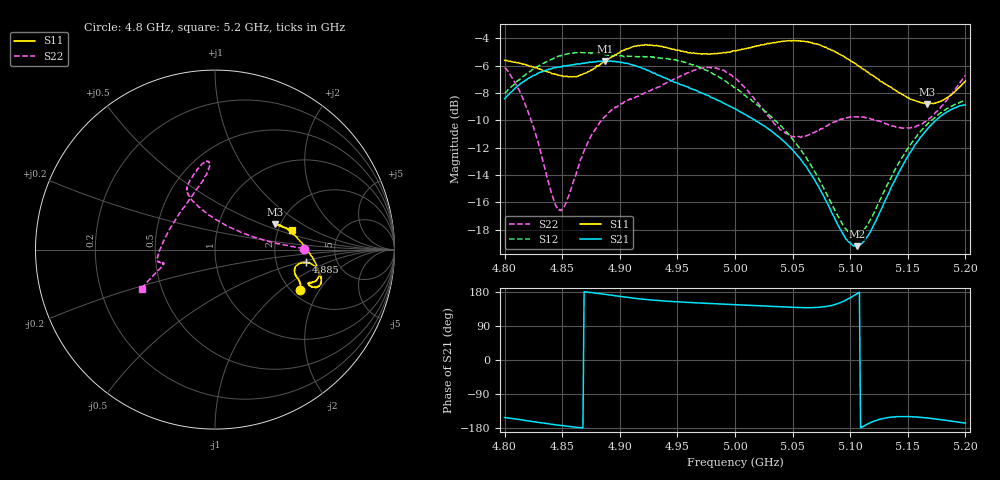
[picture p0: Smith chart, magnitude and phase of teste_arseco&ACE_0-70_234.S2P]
! Network Analyzer HP8722D
! Hewlett-Packard
! Data name: Linha & Wilkinson
! Saver's name: Rodrigo Anjos
! Comments: Teste da utilização de aquisição
! continua pelo VNA HP8722D
! Time and date: 8/5/2025 14:42
!  Frequency  S11  S21  S12  S22
# HZ  S  MA R 50
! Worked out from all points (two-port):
!   401 points, 4.8 GHz to 5.2 GHz, reference 50 ohm
!   highest |S21| = -5.65 dB at 4.887 GHz (marker M1); lowest = -19.2 dB at 5.106 GHz (marker M2)
!   |S21| within 3 dB of the highest: start of sweep to 4.988 GHz
!   lowest |S11| = -8.8 dB at 5.167 GHz (marker M3), VSWR 2.14, Z = 93.6 + j30.8 ohm
!   |S11| at or under -10 dB: nowhere
!   |S22| runs from -16.6 to -6.1 dB; largest |S21 - S12| = 1.1
!   S11 on the Smith chart (normalised r, x): 4.8 GHz: 2.23, -1.37; 4.885 GHz: 2.99, -0.57; 5.2 GHz: 2.36, +0.65
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4.8e9  0.5244 -25.1  0.3797 -152.0  0.3979 7.6  0.4934 0.5
4.82e9  0.5031 -20.5  0.4495 -160.3  0.471 4.6  0.3435 5.9
4.846e9  0.4636 -16.4  0.4949 -171.8  0.5412 0.4  0.1508 54.1
4.853e9  0.4578 -14.7  0.5 -174.3  0.552 -0.8  0.1569 80.3
4.867e9  0.4652 -10.8  0.5115 -179.3  0.5599 -2.9  0.2314 107.7
4.885e9  0.5136 -7.9  0.5213 174.2  0.5505 -3.9  0.3187 115.2
4.887e9  0.5196 -7.9  0.5216 173.5  0.5508 -3.8  0.326 115.8
4.912e9  0.5897 -11.7  0.503 163.3  0.5412 -2.9  0.3815 114.1
4.934e9  0.5923 -16.6  0.4618 156.6  0.5358 -3.9  0.4188 108.0
4.975e9  0.5551 -19.9  0.3919 149.4  0.4825 -7.4  0.4946 95.8
5e9  0.5683 -20.9  0.349 146.0  0.4173 -7.3  0.4523 94.7
5.041e9  0.6157 -19.0  0.2685 140.4  0.2991 0.3  0.2909 127.9
5.052e9  0.6187 -17.5  0.2414 138.7  0.2632 3.2  0.2746 144.4
5.067e9  0.6087 -14.2  0.1981 138.3  0.2132 8.5  0.2833 165.2
5.094e9  0.5439 -4.2  0.1211 154.7  0.1304 34.3  0.3209 -173.2
5.106e9  0.5038 1.3  0.1097 175.1  0.1204 57.6  0.3262 -169.3
5.117e9  0.4679 7.1  0.1228 -166.1  0.1359 77.9  0.3217 -167.5
5.134e9  0.4203 15.4  0.1734 -151.5  0.1902 94.2  0.3043 -166.5
5.152e9  0.3784 21.7  0.2413 -149.5  0.2566 99.1  0.2967 -164.5
5.167e9  0.3636 23.1  0.294 -153.0  0.3066 99.7  0.317 -161.7
5.183e9  0.3802 20.6  0.3374 -159.1  0.347 99.5  0.3711 -157.3
5.2e9  0.4403 14.5  0.3605 -166.5  0.3747 100.3  0.4624 -152.0
